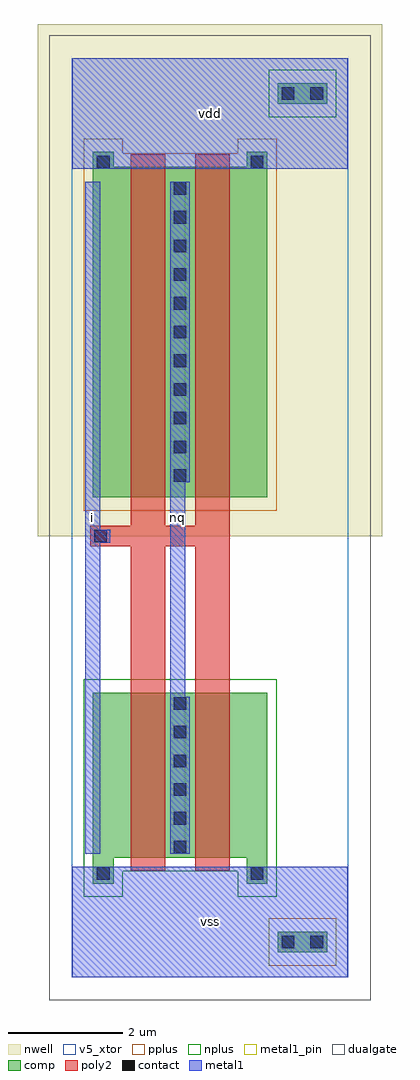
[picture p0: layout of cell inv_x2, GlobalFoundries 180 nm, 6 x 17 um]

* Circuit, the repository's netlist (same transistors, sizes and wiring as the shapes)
* inv_x2
.subckt inv_x2 vdd vss i nq
Mn0 vss i nq vss nfet_06v0 l=0.6um w=2.88um
Mn1 nq i vss vss nfet_06v0 l=0.6um w=2.88um
Mp0 vdd i nq vdd pfet_06v0 l=0.6um w=5.76um
Mp1 nq i vdd vdd pfet_06v0 l=0.6um w=5.76um
.ends inv_x2

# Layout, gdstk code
import gdstk
lib = gdstk.Library(unit=1e-6, precision=1e-09)
def R(c, l, rs):  # rectangles x0, y0, x1, y1
    for r in rs: c.add(gdstk.rectangle(r[:2], r[2:], *l))
def A(c, l, x, y, w, h, nx, ny, dx, dy):  # array of equal rectangles
    R(c, l, [(x+i*dx, y+j*dy, x+i*dx+w, y+j*dy+h) for i in range(nx) for j in range(ny)])
def P(c, l, *ps):  # polygons
    for p in ps: c.add(gdstk.Polygon(p, *l))
nwell = (21, 0)
comp = (22, 0)
poly2 = (30, 0)
pplus = (31, 0)
nplus = (32, 0)
contact = (33, 0)
metal1 = (34, 0)
metal1_pin = (34, 10)
dualgate = (55, 0)
v5_xtor = (112, 1)

inv_x2 = lib.new_cell('inv_x2')
R(inv_x2, nwell, [(-0.6,7.68,5.4,16.6)])
R(inv_x2, comp, [(3.58,0.43,4.44,0.79), (3.58,15.21,4.44,15.57)])
P(inv_x2, comp, [(0.36,1.625),(0.36,4.955),(3.4,4.955),(3.4,1.625),(3.04,1.625),(3.04,2.075),(0.72,2.075),(0.72,1.625)],
  [(0.36,8.355),(0.36,14.375),(0.72,14.375),(0.72,14.115),(3.04,14.115),(3.04,14.375),(3.4,14.375),(3.4,8.355)])
P(inv_x2, poly2, [(1.02,1.855),(1.02,7.5),(0.31,7.5),(0.31,7.86),(1.02,7.86),(1.02,14.335),(1.62,14.335),(1.62,7.86),(2.14,7.86),(2.14,14.335),(2.74,14.335),(2.74,1.855),(2.14,1.855),(2.14,7.5),(1.62,7.5),(1.62,1.855)])
R(inv_x2, pplus, [(3.42,0.2,4.6,1.02)])
P(inv_x2, pplus, [(0.2,8.125),(0.2,14.605),(0.88,14.605),(0.88,14.345),(2.88,14.345),(2.88,14.605),(3.56,14.605),(3.56,8.125)])
R(inv_x2, nplus, [(3.42,14.98,4.6,15.8)])
P(inv_x2, nplus, [(0.2,1.395),(0.2,5.185),(3.56,5.185),(3.56,1.395),(2.88,1.395),(2.88,1.845),(0.88,1.845),(0.88,1.395)])
A(inv_x2, contact, 1.77, 2.155, 0.22, 0.22, 1, 6, 0, 0.5)
A(inv_x2, contact, 1.77, 8.625, 0.22, 0.22, 1, 11, 0, 0.5)
R(inv_x2, contact, [(3.65,0.5,3.87,0.72), (4.15,0.5,4.37,0.72), (0.43,1.695,0.65,1.915), (3.11,1.695,3.33,1.915), (0.38,7.57,0.6,7.79), (0.43,14.085,0.65,14.305), (3.11,14.085,3.33,14.305), (3.65,15.28,3.87,15.5), (4.15,15.28,4.37,15.5)])
R(inv_x2, metal1, [(0,0,4.8,1.92), (0,14.08,4.8,16)])
P(inv_x2, metal1, [(0.23,2.15),(0.23,13.85),(0.49,13.85),(0.49,7.795),(0.66,7.795),(0.66,7.565),(0.49,7.565),(0.49,2.15)],
  [(1.71,2.15),(1.71,13.85),(2.05,13.85),(2.05,8.62),(1.97,8.62),(1.97,4.88),(2.05,4.88),(2.05,2.15)])
R(inv_x2, metal1_pin, [(0,0,4.8,1.92), (0.23,2.15,0.49,13.85), (1.71,2.15,1.97,13.85), (0,14.08,4.8,16)])
R(inv_x2, dualgate, [(-0.4,-0.4,5.2,16.4)])
R(inv_x2, v5_xtor, [(-0.005,-0.005,4.805,16.005)])
inv_x2.add(gdstk.Label('i', (0.36,8), layer=34, texttype=10))
inv_x2.add(gdstk.Label('vss', (2.4,0.96), layer=34, texttype=10))
inv_x2.add(gdstk.Label('vdd', (2.4,15.04), layer=34, texttype=10))
inv_x2.add(gdstk.Label('nq', (1.84,8), layer=34, texttype=10))

lib.write_gds('inv_x2.gds')
